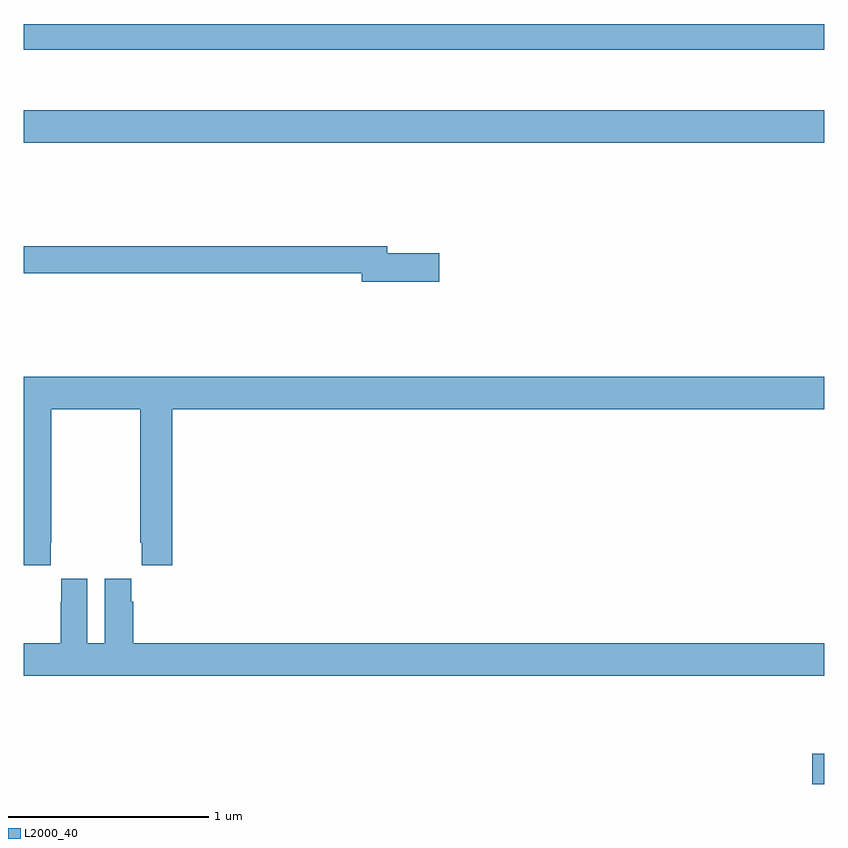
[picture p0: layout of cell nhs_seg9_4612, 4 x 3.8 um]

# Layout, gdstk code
import gdstk
lib = gdstk.Library(unit=1e-6, precision=1e-09)
def R(c, l, rs):  # rectangles x0, y0, x1, y1
    for r in rs: c.add(gdstk.rectangle(r[:2], r[2:], *l))
def P(c, l, *ps):  # polygons
    for p in ps: c.add(gdstk.Polygon(p, *l))
L2000_40 = (2000, 40)

nhs_seg9_4612 = lib.new_cell('nhs_seg9_4612')
R(nhs_seg9_4612, L2000_40, [(378.941,1242.5,379,1242.652), (375,1245.704,379,1245.868), (375,1246.17,379,1246.298)])
P(nhs_seg9_4612, L2000_40, [(377.077,1245.152),(376.816,1245.152),(376.816,1245.188),(375,1245.188),(375,1245.052),(376.688,1245.052),(376.688,1245.01),(377.077,1245.01)],
  [(375.135,1243.705),(375.138,1243.705),(375.138,1244.372),(375.583,1244.372),(375.583,1243.705),(375.589,1243.705),(375.589,1243.593),(375.743,1243.593),(375.743,1244.372),(379,1244.372),(379,1244.536),(375,1244.536),(375,1243.593),(375.135,1243.593)],
  [(379,1243.204),(375.548,1243.204),(375.548,1243.412),(375.538,1243.412),(375.538,1243.525),(375.404,1243.525),(375.404,1243.204),(375.316,1243.204),(375.316,1243.525),(375.186,1243.525),(375.186,1243.412),(375.185,1243.412),(375.185,1243.204),(375,1243.204),(375,1243.04),(379,1243.04)])

lib.write_gds('nhs_seg9_4612.gds')
